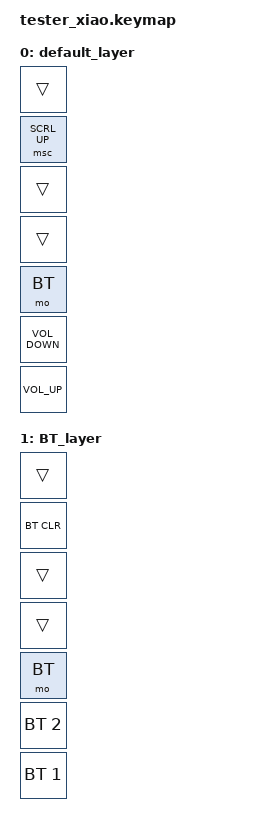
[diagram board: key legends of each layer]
#include <behaviors.dtsi>
#include <dt-bindings/zmk/keys.h>
#include <dt-bindings/zmk/bt.h>
#define ZMK_POINTING_DEFAULT_SCRL_VAL 40    // default: 10

#include <dt-bindings/zmk/pointing.h>


#define DEFAULT 0
#define BT   1

&msc {
    x-input-code = <INPUT_REL_HWHEEL>;
    y-input-code = <INPUT_REL_WHEEL>;
    time-to-max-speed-ms = <300>;
    acceleration-exponent = <0>;
};

/ {
    combos {
        compatible = "zmk,combos";
        combo_studio {
            timeout-ms = <50>;
            key-positions = <5 6>;
            bindings = <&studio_unlock>;
        };
    };



    keymap: keymap {
        compatible = "zmk,keymap";

        default_layer {
            bindings = <    
                            &trans
                            &msc SCRL_UP  //Rotary SW
                            &trans     //ScrollDwn (RotaryB)
                            &trans     //ScrollUp (RotaryA)
                            &mo BT     //Momentary Layer
                            &kp C_VOLUME_DOWN    //Vol Down
                            &kp C_VOLUME_UP  //Vol Up
                        >;

        };
        BT_layer {
            bindings = <    
                            &trans
                            &bt BT_CLR    //Unpair
                            &trans     //PgDn
                            &trans     //PgUp
                            &mo BT     //Momentary Layer
                            &bt BT_SEL 2     //Device 2
                            &bt BT_SEL 1  //Device 1
                        >; 

        };
    };
};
